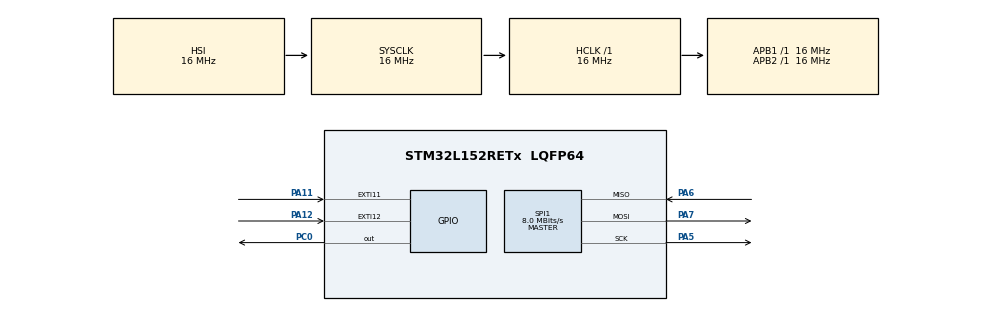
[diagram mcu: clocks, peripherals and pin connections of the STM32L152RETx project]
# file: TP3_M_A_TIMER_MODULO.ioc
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Mcu.Family=STM32L1
Mcu.Name=STM32L152RETx
Mcu.Package=LQFP64
NVIC.EXTI15_10_IRQn=true\:0\:0\:false\:false\:true\:true\:true\:true
NVIC.PriorityGroup=NVIC_PRIORITYGROUP_4
NVIC.TIM2_IRQn=true\:0\:0\:false\:false\:true\:true\:true\:true
PA11.Signal=GPXTI11
PA12.Signal=GPXTI12
PA5.Mode=Full_Duplex_Master
PA5.Signal=SPI1_SCK
PA6.Mode=Full_Duplex_Master
PA6.Signal=SPI1_MISO
PA7.Mode=Full_Duplex_Master
PA7.Signal=SPI1_MOSI
PC0.Signal=GPIO_Output
ProjectManager.HeapSize=0x200
ProjectManager.StackSize=0x400
ProjectManager.TargetToolchain=STM32CubeIDE
RCC.AHBFreq_Value=16000000
RCC.APB1Freq_Value=16000000
RCC.APB1TimFreq_Value=16000000
RCC.APB2Freq_Value=16000000
RCC.APB2TimFreq_Value=16000000
RCC.HCLKFreq_Value=16000000
RCC.HSE_VALUE=24000000
RCC.HSI_VALUE=16000000
RCC.LSE_VALUE=32768
RCC.MSI_VALUE=2097000
RCC.SYSCLKFreq_VALUE=16000000
RCC.SYSCLKSource=RCC_SYSCLKSOURCE_HSI
RCC.VCOOutputFreq_Value=48000000
SPI1.CalculateBaudRate=8.0 MBits/s
SPI1.Direction=SPI_DIRECTION_2LINES
SPI1.Mode=SPI_MODE_MASTER
SPI1.VirtualType=VM_MASTER
TIM2.AutoReloadPreload=TIM_AUTORELOAD_PRELOAD_ENABLE
TIM2.Period=16000-1
TIM2.Prescaler=1000-1
VP_TIM2_VS_ClockSourceINT.Mode=Internal
board=custom

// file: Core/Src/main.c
/* USER CODE BEGIN Header */
/**
  ******************************************************************************
  * @file           : main.c
  * @brief          : Main program body
  ******************************************************************************
  * @attention
  *
  * Copyright (c) 2025 STMicroelectronics.
  * All rights reserved.
  *
  * This software is licensed under terms that can be found in the LICENSE file
  * in the root directory of this software component.
  * If no LICENSE file comes with this software, it is provided AS-IS.
  *
  ******************************************************************************
  */
/* USER CODE END Header */
#include "main.h"

/* USER CODE BEGIN Includes */
#include "max7219.h"

/* USER CODE END Includes */

SPI_HandleTypeDef hspi1;

TIM_HandleTypeDef htim2;

void SystemClock_Config(void);
static void MX_GPIO_Init(void);
static void MX_SPI1_Init(void);
static void MX_TIM2_Init(void);
/* USER CODE BEGIN PFP */
void affiche (uint8_t nombre);

/* USER CODE END PFP */

/* USER CODE BEGIN 0 */

volatile uint8_t marche = 0;
volatile uint8_t tempo_500ms_ok = 0;

void affiche(uint8_t nombre) {
    uint8_t compt_uni;
    uint8_t compt_diz;

    compt_uni = nombre % 10;
    compt_diz = nombre / 10;

    MAX7219_DisplayChar(1, compt_diz);
    MAX7219_DisplayChar(2, compt_uni);
    MAX7219_DisplayChar(3, compt_diz);
    MAX7219_DisplayChar(4, compt_uni);
}

/* USER CODE END 0 */

int main(void)
{

  /* MCU Configuration--------------------------------------------------------*/

  /* Reset of all peripherals, Initializes the Flash interface and the Systick. */
  HAL_Init();

  /* Configure the system clock */
  SystemClock_Config();

  /* Initialize all configured peripherals */
  MX_GPIO_Init();
  MX_SPI1_Init();
  MX_TIM2_Init();
  /* USER CODE BEGIN 2 */
  MAX7219_Init();
  HAL_TIM_Base_Start_IT(&htim2);
  uint8_t counter = 0;

  /* USER CODE END 2 */

  /* Infinite loop */
  /* USER CODE BEGIN WHILE */
  MAX7219_Clear();
  while (1)
  {
    /* USER CODE END WHILE */

    /* USER CODE BEGIN 3 */
	  if (marche && tempo_500ms_ok) {
		  counter ++;
		  if (counter >= 100) {
			  counter = 0;
		  }
		  affiche(counter);
		  tempo_500ms_ok = 0;
	  }

 }
  /* USER CODE END 3 */
}

void SystemClock_Config(void)
{
  RCC_OscInitTypeDef RCC_OscInitStruct = {0};
  RCC_ClkInitTypeDef RCC_ClkInitStruct = {0};

  /** Configure the main internal regulator output voltage
  */
  __HAL_PWR_VOLTAGESCALING_CONFIG(PWR_REGULATOR_VOLTAGE_SCALE1);

  /** Initializes the RCC Oscillators according to the specified parameters
  * in the RCC_OscInitTypeDef structure.
  */
  RCC_OscInitStruct.OscillatorType = RCC_OSCILLATORTYPE_HSI;
  RCC_OscInitStruct.HSIState = RCC_HSI_ON;
  RCC_OscInitStruct.HSICalibrationValue = RCC_HSICALIBRATION_DEFAULT;
  RCC_OscInitStruct.PLL.PLLState = RCC_PLL_NONE;
  if (HAL_RCC_OscConfig(&RCC_OscInitStruct) != HAL_OK)
  {
    Error_Handler();
  }

  /** Initializes the CPU, AHB and APB buses clocks
  */
  RCC_ClkInitStruct.ClockType = RCC_CLOCKTYPE_HCLK|RCC_CLOCKTYPE_SYSCLK
                              |RCC_CLOCKTYPE_PCLK1|RCC_CLOCKTYPE_PCLK2;
  RCC_ClkInitStruct.SYSCLKSource = RCC_SYSCLKSOURCE_HSI;
  RCC_ClkInitStruct.AHBCLKDivider = RCC_SYSCLK_DIV1;
  RCC_ClkInitStruct.APB1CLKDivider = RCC_HCLK_DIV1;
  RCC_ClkInitStruct.APB2CLKDivider = RCC_HCLK_DIV1;

  if (HAL_RCC_ClockConfig(&RCC_ClkInitStruct, FLASH_LATENCY_0) != HAL_OK)
  {
    Error_Handler();
  }
}

static void MX_SPI1_Init(void)
{

  /* SPI1 parameter configuration*/
  hspi1.Instance = SPI1;
  hspi1.Init.Mode = SPI_MODE_MASTER;
  hspi1.Init.Direction = SPI_DIRECTION_2LINES;
  hspi1.Init.DataSize = SPI_DATASIZE_8BIT;
  hspi1.Init.CLKPolarity = SPI_POLARITY_LOW;
  hspi1.Init.CLKPhase = SPI_PHASE_1EDGE;
  hspi1.Init.NSS = SPI_NSS_SOFT;
  hspi1.Init.BaudRatePrescaler = SPI_BAUDRATEPRESCALER_2;
  hspi1.Init.FirstBit = SPI_FIRSTBIT_MSB;
  hspi1.Init.TIMode = SPI_TIMODE_DISABLE;
  hspi1.Init.CRCCalculation = SPI_CRCCALCULATION_DISABLE;
  hspi1.Init.CRCPolynomial = 10;
  if (HAL_SPI_Init(&hspi1) != HAL_OK)
  {
    Error_Handler();
  }

}

static void MX_TIM2_Init(void)
{

  TIM_ClockConfigTypeDef sClockSourceConfig = {0};
  TIM_MasterConfigTypeDef sMasterConfig = {0};

  htim2.Instance = TIM2;
  htim2.Init.Prescaler = 1000-1;
  htim2.Init.CounterMode = TIM_COUNTERMODE_UP;
  htim2.Init.Period = 16000-1;
  htim2.Init.ClockDivision = TIM_CLOCKDIVISION_DIV1;
  htim2.Init.AutoReloadPreload = TIM_AUTORELOAD_PRELOAD_ENABLE;
  if (HAL_TIM_Base_Init(&htim2) != HAL_OK)
  {
    Error_Handler();
  }
  sClockSourceConfig.ClockSource = TIM_CLOCKSOURCE_INTERNAL;
  if (HAL_TIM_ConfigClockSource(&htim2, &sClockSourceConfig) != HAL_OK)
  {
    Error_Handler();
  }
  sMasterConfig.MasterOutputTrigger = TIM_TRGO_RESET;
  sMasterConfig.MasterSlaveMode = TIM_MASTERSLAVEMODE_DISABLE;
  if (HAL_TIMEx_MasterConfigSynchronization(&htim2, &sMasterConfig) != HAL_OK)
  {
    Error_Handler();
  }

}

static void MX_GPIO_Init(void)
{
  GPIO_InitTypeDef GPIO_InitStruct = {0};

  /* GPIO Ports Clock Enable */
  __HAL_RCC_GPIOC_CLK_ENABLE();
  __HAL_RCC_GPIOA_CLK_ENABLE();

  /*Configure GPIO pin Output Level */
  HAL_GPIO_WritePin(GPIOC, GPIO_PIN_0, GPIO_PIN_RESET);

  /*Configure GPIO pin : PC0 */
  GPIO_InitStruct.Pin = GPIO_PIN_0;
  GPIO_InitStruct.Mode = GPIO_MODE_OUTPUT_PP;
  GPIO_InitStruct.Pull = GPIO_NOPULL;
  GPIO_InitStruct.Speed = GPIO_SPEED_FREQ_LOW;
  HAL_GPIO_Init(GPIOC, &GPIO_InitStruct);

  /*Configure GPIO pins : PA11 PA12 */
  GPIO_InitStruct.Pin = GPIO_PIN_11|GPIO_PIN_12;
  GPIO_InitStruct.Mode = GPIO_MODE_IT_RISING;
  GPIO_InitStruct.Pull = GPIO_NOPULL;
  HAL_GPIO_Init(GPIOA, &GPIO_InitStruct);

  /* EXTI interrupt init*/
  HAL_NVIC_SetPriority(EXTI15_10_IRQn, 0, 0);
  HAL_NVIC_EnableIRQ(EXTI15_10_IRQn);

}

/* USER CODE BEGIN 4 */
void HAL_GPIO_EXTI_Callback(uint16_t GPIO_Pin) {
	if (GPIO_Pin == (1<<11)){
        marche = 1;
    } else if (GPIO_Pin == (1<<12)) {
        marche = 0;
    }
}

void HAL_TIM_PeriodElapsedCallback(TIM_HandleTypeDef* htim) {
    if (htim->Instance == TIM2) {
        tempo_500ms_ok = 1;
    }
}

/* USER CODE END 4 */

void Error_Handler(void)
{
  __disable_irq();
  while (1)
  {
  }
}
